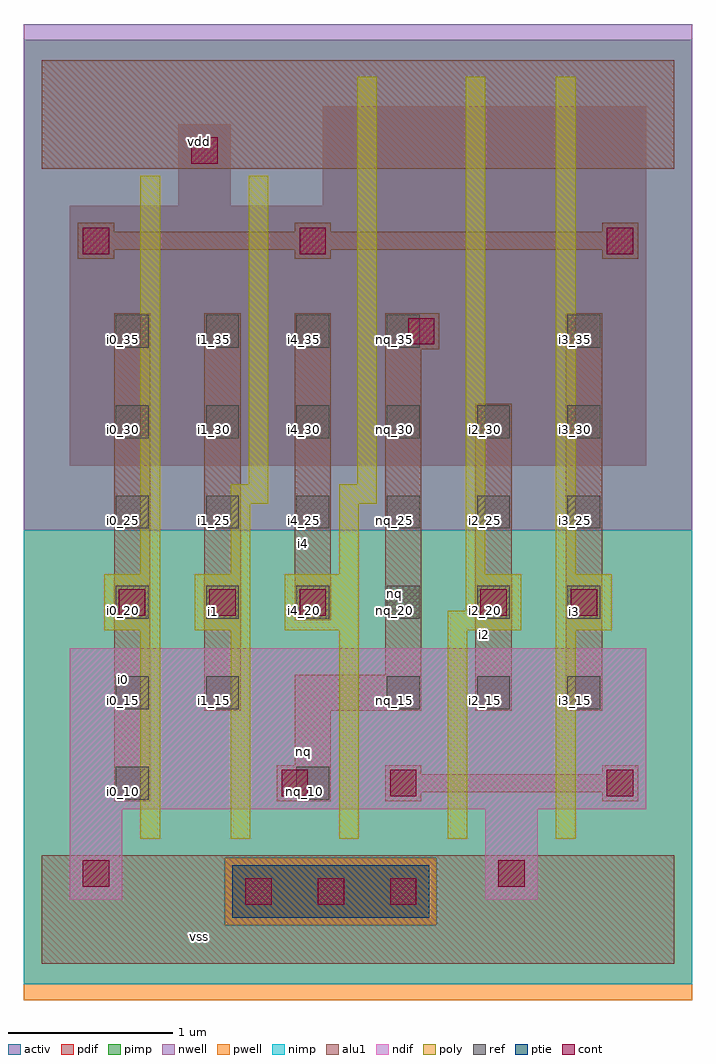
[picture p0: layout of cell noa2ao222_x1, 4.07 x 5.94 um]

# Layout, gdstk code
import gdstk
lib = gdstk.Library(unit=1e-6, precision=2.5e-09)
def R(c, l, rs):  # rectangles x0, y0, x1, y1
    for r in rs: c.add(gdstk.rectangle(r[:2], r[2:], *l))
def A(c, l, x, y, w, h, nx, ny, dx, dy):  # array of equal rectangles
    R(c, l, [(x+i*dx, y+j*dy, x+i*dx+w, y+j*dy+h) for i in range(nx) for j in range(ny)])
ndif = (3, 0)
pdif = (4, 0)
ptie = (6, 0)
ref = (24, 0)
cont = (25, 0)
pwell = (41, 0)
nwell = (42, 0)
activ = (43, 0)
pimp = (44, 0)
nimp = (45, 0)
poly = (46, 0)
alu1 = (49, 0)

noa2ao222_x1 = lib.new_cell('noa2ao222_x1')
R(noa2ao222_x1, ndif, [(0.17,0.39,0.49,0.94), (0.17,0.39,0.49,0.94), (2.7,0.39,3.02,0.94), (2.7,0.39,3.02,0.94), (0.17,0.94,3.68,1.92), (0.17,0.94,3.68,1.92)])
R(noa2ao222_x1, pdif, [(0.17,3.03,3.68,4.615), (0.17,3.03,3.68,4.615), (0.83,4.615,1.15,5.11), (0.83,4.615,1.15,5.11), (1.71,4.615,3.68,5.22), (1.71,4.615,3.68,5.22)])
R(noa2ao222_x1, ptie, [(1.16,0.28,2.36,0.6), (1.16,0.28,2.36,0.6)])
A(noa2ao222_x1, ref, 2.1, 1.55, 0.2, 0.2, 3, 1, 0.55, 0)
A(noa2ao222_x1, ref, 0.45, 2.1, 0.2, 0.2, 6, 3, 0.55, 0.55)
A(noa2ao222_x1, ref, 0.45, 3.75, 0.2, 0.2, 4, 1, 0.55, 0)
R(noa2ao222_x1, ref, [(0.45,1,0.65,1.2), (1.55,1,1.75,1.2), (0.45,1.55,0.65,1.75), (1,1.55,1.2,1.75), (3.2,3.75,3.4,3.95)])
A(noa2ao222_x1, cont, 1.24, 0.36, 0.16, 0.16, 3, 1, 0.44, 0)
A(noa2ao222_x1, cont, 0.47, 2.12, 0.16, 0.16, 3, 1, 0.55, 0)
R(noa2ao222_x1, cont, [(0.25,0.47,0.41,0.63), (2.78,0.47,2.94,0.63), (1.46,1.02,1.62,1.18), (2.12,1.02,2.28,1.18), (3.44,1.02,3.6,1.18), (2.67,2.12,2.83,2.28), (3.22,2.12,3.38,2.28), (2.23,3.77,2.39,3.93), (0.25,4.32,0.41,4.48), (1.57,4.32,1.73,4.48), (3.44,4.32,3.6,4.48), (0.91,4.87,1.07,5.03)])
R(noa2ao222_x1, pwell, [(-0.11,-0.22,3.96,2.64)])
R(noa2ao222_x1, nwell, [(-0.11,2.64,3.96,5.72)])
R(noa2ao222_x1, activ, [(1.16,0.28,2.36,0.6), (1.16,0.28,2.36,0.6), (0.17,0.39,0.49,0.94), (0.17,0.39,0.49,0.94), (2.7,0.39,3.02,0.94), (2.7,0.39,3.02,0.94), (0.17,0.94,3.68,1.92), (0.17,0.94,3.68,1.92), (0.17,3.03,3.68,4.615), (0.17,3.03,3.68,4.615), (0.83,4.615,1.15,5.11), (0.83,4.615,1.15,5.11), (1.71,4.615,3.68,5.22), (1.71,4.615,3.68,5.22)])
R(noa2ao222_x1, pimp, [(1.115,0.235,2.405,0.645), (-0.11,2.64,3.96,5.625)])
R(noa2ao222_x1, nimp, [(-0.11,-0.125,3.96,0.235), (-0.11,0.235,1.115,0.645), (2.405,0.235,3.96,0.645), (-0.11,0.645,3.96,2.64)])
A(noa2ao222_x1, poly, 1.15, 0.76, 0.12, 1.27, 4, 1, 0.66, 0)
R(noa2ao222_x1, poly, [(0.6,0.76,0.72,2.03), (0.38,2.03,0.72,2.37), (0.93,2.03,1.27,2.37), (1.48,2.03,1.93,2.37), (2.47,2.03,2.92,2.15), (3.13,2.03,3.47,2.37), (2.58,2.15,2.92,2.37), (0.6,2.37,0.72,4.795), (1.15,2.37,1.27,2.8), (1.81,2.37,1.93,2.8), (2.58,2.37,2.7,5.4), (3.13,2.37,3.25,5.4), (1.15,2.8,1.38,2.92), (1.81,2.8,2.04,2.92), (1.26,2.92,1.38,4.795), (1.92,2.92,2.04,5.4)])
R(noa2ao222_x1, alu1, [(0,0,3.85,0.66), (0.44,0.99,0.66,3.96), (1.43,0.99,1.76,1.21), (2.09,0.99,2.31,1.045), (3.41,0.99,3.63,1.045), (2.09,1.045,3.63,1.155), (2.09,1.155,2.31,1.21), (3.41,1.155,3.63,1.21), (1.54,1.21,1.76,1.54), (0.99,1.54,1.21,3.96), (1.54,1.54,2.31,1.76), (2.64,1.54,2.86,3.41), (3.19,1.54,3.41,3.96), (2.09,1.76,2.31,3.74), (1.54,2.09,1.76,3.96), (2.09,3.74,2.42,3.96), (0.22,4.29,0.44,4.345), (1.54,4.29,1.76,4.345), (3.41,4.29,3.63,4.345), (0.22,4.345,3.63,4.455), (0.22,4.455,0.44,4.51), (1.54,4.455,1.76,4.51), (3.41,4.455,3.63,4.51), (0,4.84,3.85,5.5)])
noa2ao222_x1.add(gdstk.Label('vss', (0.9625,0.165), layer=49, texttype=0))
noa2ao222_x1.add(gdstk.Label('nq', (1.595,1.2925), layer=49, texttype=0))
noa2ao222_x1.add(gdstk.Label('i3', (3.245,2.145), layer=49, texttype=0))
noa2ao222_x1.add(gdstk.Label('i2', (2.695,2.0075), layer=49, texttype=0))
noa2ao222_x1.add(gdstk.Label('nq', (2.145,2.255), layer=49, texttype=0))
noa2ao222_x1.add(gdstk.Label('i4', (1.595,2.5575), layer=49, texttype=0))
noa2ao222_x1.add(gdstk.Label('i1', (1.045,2.145), layer=49, texttype=0))
noa2ao222_x1.add(gdstk.Label('i0', (0.495,1.7325), layer=49, texttype=0))
noa2ao222_x1.add(gdstk.Label('vdd', (0.9625,5.005), layer=49, texttype=0))
noa2ao222_x1.add(gdstk.Label('i3_35', (3.25,3.8), layer=24, texttype=0))
noa2ao222_x1.add(gdstk.Label('i3_30', (3.25,3.25), layer=24, texttype=0))
noa2ao222_x1.add(gdstk.Label('i3_25', (3.25,2.7), layer=24, texttype=0))
noa2ao222_x1.add(gdstk.Label('i3_20', (3.25,2.15), layer=24, texttype=0))
noa2ao222_x1.add(gdstk.Label('i3_15', (3.25,1.6), layer=24, texttype=0))
noa2ao222_x1.add(gdstk.Label('i2_30', (2.7,3.25), layer=24, texttype=0))
noa2ao222_x1.add(gdstk.Label('i2_25', (2.7,2.7), layer=24, texttype=0))
noa2ao222_x1.add(gdstk.Label('i2_20', (2.7,2.15), layer=24, texttype=0))
noa2ao222_x1.add(gdstk.Label('i2_15', (2.7,1.6), layer=24, texttype=0))
noa2ao222_x1.add(gdstk.Label('nq_10', (1.6,1.05), layer=24, texttype=0))
noa2ao222_x1.add(gdstk.Label('nq_15', (2.15,1.6), layer=24, texttype=0))
noa2ao222_x1.add(gdstk.Label('nq_20', (2.15,2.15), layer=24, texttype=0))
noa2ao222_x1.add(gdstk.Label('nq_25', (2.15,2.7), layer=24, texttype=0))
noa2ao222_x1.add(gdstk.Label('nq_30', (2.15,3.25), layer=24, texttype=0))
noa2ao222_x1.add(gdstk.Label('nq_35', (2.15,3.8), layer=24, texttype=0))
noa2ao222_x1.add(gdstk.Label('i4_20', (1.6,2.15), layer=24, texttype=0))
noa2ao222_x1.add(gdstk.Label('i4_25', (1.6,2.7), layer=24, texttype=0))
noa2ao222_x1.add(gdstk.Label('i4_30', (1.6,3.25), layer=24, texttype=0))
noa2ao222_x1.add(gdstk.Label('i4_35', (1.6,3.8), layer=24, texttype=0))
noa2ao222_x1.add(gdstk.Label('i1_15', (1.05,1.6), layer=24, texttype=0))
noa2ao222_x1.add(gdstk.Label('i1_20', (1.05,2.15), layer=24, texttype=0))
noa2ao222_x1.add(gdstk.Label('i1_25', (1.05,2.7), layer=24, texttype=0))
noa2ao222_x1.add(gdstk.Label('i1_30', (1.05,3.25), layer=24, texttype=0))
noa2ao222_x1.add(gdstk.Label('i1_35', (1.05,3.8), layer=24, texttype=0))
noa2ao222_x1.add(gdstk.Label('i0_35', (0.5,3.8), layer=24, texttype=0))
noa2ao222_x1.add(gdstk.Label('i0_30', (0.5,3.25), layer=24, texttype=0))
noa2ao222_x1.add(gdstk.Label('i0_25', (0.5,2.7), layer=24, texttype=0))
noa2ao222_x1.add(gdstk.Label('i0_20', (0.5,2.15), layer=24, texttype=0))
noa2ao222_x1.add(gdstk.Label('i0_15', (0.5,1.6), layer=24, texttype=0))
noa2ao222_x1.add(gdstk.Label('i0_10', (0.5,1.05), layer=24, texttype=0))

lib.write_gds('noa2ao222_x1.gds')
